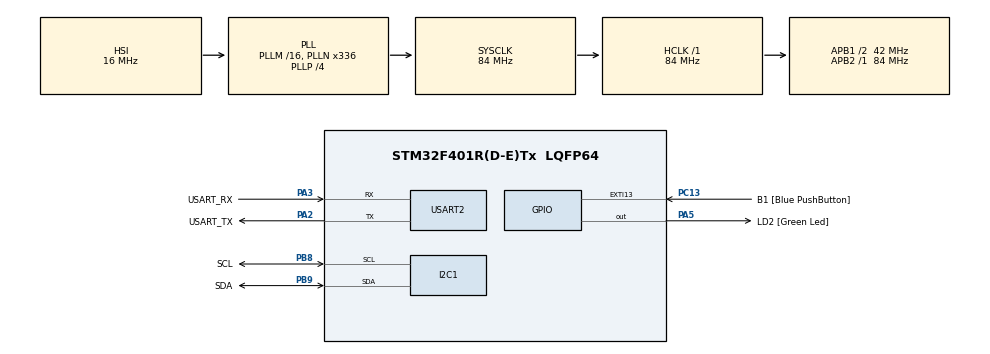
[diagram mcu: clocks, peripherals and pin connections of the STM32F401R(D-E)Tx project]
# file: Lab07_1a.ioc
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Dma.Request0=USART2_TX
Dma.USART2_TX.0.Direction=DMA_MEMORY_TO_PERIPH
Dma.USART2_TX.0.FIFOMode=DMA_FIFOMODE_DISABLE
Dma.USART2_TX.0.Instance=DMA1_Stream6
Dma.USART2_TX.0.MemDataAlignment=DMA_MDATAALIGN_BYTE
Dma.USART2_TX.0.MemInc=DMA_MINC_ENABLE
Dma.USART2_TX.0.Mode=DMA_NORMAL
Dma.USART2_TX.0.PeriphDataAlignment=DMA_PDATAALIGN_BYTE
Dma.USART2_TX.0.PeriphInc=DMA_PINC_DISABLE
Dma.USART2_TX.0.Priority=DMA_PRIORITY_HIGH
Mcu.Family=STM32F4
Mcu.Name=STM32F401R(D-E)Tx
Mcu.Package=LQFP64
NVIC.DMA1_Stream6_IRQn=true\:0\:0\:false\:false\:true\:false\:true\:true
NVIC.PriorityGroup=NVIC_PRIORITYGROUP_4
NVIC.TIM2_IRQn=true\:0\:0\:false\:false\:true\:true\:true\:true
NVIC.USART2_IRQn=true\:0\:0\:false\:false\:true\:true\:true\:true
PA13.GPIO_Label=TMS
PA13.Mode=Trace_Asynchronous_SW
PA13.Signal=SYS_JTMS-SWDIO
PA14.GPIO_Label=TCK
PA14.Mode=Trace_Asynchronous_SW
PA14.Signal=SYS_JTCK-SWCLK
PA2.GPIO_Label=USART_TX
PA2.GPIO_Mode=GPIO_MODE_AF_PP
PA2.GPIO_PuPd=GPIO_NOPULL
PA2.GPIO_Speed=GPIO_SPEED_FREQ_LOW
PA2.Mode=Asynchronous
PA2.Signal=USART2_TX
PA3.GPIO_Label=USART_RX
PA3.GPIO_Mode=GPIO_MODE_AF_PP
PA3.GPIO_PuPd=GPIO_NOPULL
PA3.GPIO_Speed=GPIO_SPEED_FREQ_LOW
PA3.Mode=Asynchronous
PA3.Signal=USART2_RX
PA5.GPIO_Label=LD2 [Green Led]
PA5.GPIO_Mode=GPIO_MODE_OUTPUT_PP
PA5.GPIO_PuPd=GPIO_NOPULL
PA5.GPIO_Speed=GPIO_SPEED_FREQ_LOW
PA5.Signal=GPIO_Output
PB3.GPIO_Label=SWO
PB3.Mode=Trace_Asynchronous_SW
PB3.Signal=SYS_JTDO-SWO
PB8.GPIO_Label=SCL
PB8.Mode=I2C
PB8.Signal=I2C1_SCL
PB9.GPIO_Label=SDA
PB9.Mode=I2C
PB9.Signal=I2C1_SDA
PC13-ANTI_TAMP.GPIO_Label=B1 [Blue PushButton]
PC13-ANTI_TAMP.GPIO_ModeDefaultEXTI=GPIO_MODE_IT_FALLING
PC13-ANTI_TAMP.GPIO_PuPd=GPIO_NOPULL
PC13-ANTI_TAMP.Signal=GPXTI13
PC14-OSC32_IN.Mode=LSE-External-Oscillator
PC14-OSC32_IN.Signal=RCC_OSC32_IN
PC15-OSC32_OUT.Mode=LSE-External-Oscillator
PC15-OSC32_OUT.Signal=RCC_OSC32_OUT
PH0\ -\ OSC_IN.Mode=HSE-External-Clock-Source
PH0\ -\ OSC_IN.Signal=RCC_OSC_IN
PH1\ -\ OSC_OUT.Mode=HSE-External-Clock-Source
PH1\ -\ OSC_OUT.Signal=RCC_OSC_OUT
ProjectManager.HeapSize=0x200
ProjectManager.StackSize=0x400
ProjectManager.TargetToolchain=STM32CubeIDE
RCC.48MHZClocksFreq_Value=48000000
RCC.AHBFreq_Value=84000000
RCC.APB1CLKDivider=RCC_HCLK_DIV2
RCC.APB1Freq_Value=42000000
RCC.APB1TimFreq_Value=84000000
RCC.APB2Freq_Value=84000000
RCC.APB2TimFreq_Value=84000000
RCC.CortexFreq_Value=84000000
RCC.HCLKFreq_Value=84000000
RCC.HSE_VALUE=8000000
RCC.HSI_VALUE=16000000
RCC.PLLN=336
RCC.PLLP=RCC_PLLP_DIV4
RCC.PLLQ=7
RCC.SYSCLKFreq_VALUE=84000000
RCC.SYSCLKSource=RCC_SYSCLKSOURCE_PLLCLK
RCC.VCOOutputFreq_Value=336000000
TIM2.Period=839999
TIM2.Prescaler=99
USART2.VirtualMode=VM_ASYNC
VP_TIM2_VS_ClockSourceINT.Mode=Internal
board=NUCLEO-F401RE

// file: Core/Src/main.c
/* USER CODE BEGIN Header */
/**
  ******************************************************************************
  * @file           : main.c
  * @brief          : Main program body
  ******************************************************************************
  * @attention
  *
  * Copyright (c) 2026 STMicroelectronics.
  * All rights reserved.
  *
  * This software is licensed under terms that can be found in the LICENSE file
  * in the root directory of this software component.
  * If no LICENSE file comes with this software, it is provided AS-IS.
  *
  ******************************************************************************
  */
/* USER CODE END Header */
#include "main.h"

/* USER CODE BEGIN Includes */
#include "stdio.h"
#include "string.h"
/* USER CODE END Includes */

/* USER CODE BEGIN PD */
#define LM75_ADDR 0b10010000
#define LM75_TEMP_REGISTER 0x00
/* USER CODE END PD */

I2C_HandleTypeDef hi2c1;

TIM_HandleTypeDef htim2;

UART_HandleTypeDef huart2;
DMA_HandleTypeDef hdma_usart2_tx;

/* USER CODE BEGIN PV */
uint8_t MSB;
float temp;
int len;
uint8_t tx_buf[64];
/* USER CODE END PV */

void SystemClock_Config(void);
static void MX_GPIO_Init(void);
static void MX_DMA_Init(void);
static void MX_USART2_UART_Init(void);
static void MX_I2C1_Init(void);
static void MX_TIM2_Init(void);

/* USER CODE BEGIN 0 */
void HAL_TIM_PeriodElapsedCallback(TIM_HandleTypeDef *htim)
{
	if(htim->Instance == TIM2){

		HAL_I2C_Mem_Read(&hi2c1, LM75_ADDR, LM75_TEMP_REGISTER, I2C_MEMADD_SIZE_8BIT, &MSB, 1, HAL_MAX_DELAY);

		temp = (float)(int8_t)MSB;   // interpreta il byte grezzo come signed solo qui

		len = sprintf((char*)tx_buf, "Temperature: %.2f °C\r\n", temp);
		HAL_UART_Transmit_DMA(&huart2, tx_buf, len);

	}
}

/* USER CODE END 0 */

int main(void)
{

  /* MCU Configuration--------------------------------------------------------*/

  /* Reset of all peripherals, Initializes the Flash interface and the Systick. */
  HAL_Init();

  /* Configure the system clock */
  SystemClock_Config();

  /* Initialize all configured peripherals */
  MX_GPIO_Init();
  MX_DMA_Init();
  MX_USART2_UART_Init();
  MX_I2C1_Init();
  MX_TIM2_Init();
  /* USER CODE BEGIN 2 */
  HAL_TIM_Base_Start_IT(&htim2);

  /* USER CODE END 2 */

  /* Infinite loop */
  while (1)
  {

  }
}

void SystemClock_Config(void)
{
  RCC_OscInitTypeDef RCC_OscInitStruct = {0};
  RCC_ClkInitTypeDef RCC_ClkInitStruct = {0};

  /** Configure the main internal regulator output voltage
  */
  __HAL_RCC_PWR_CLK_ENABLE();
  __HAL_PWR_VOLTAGESCALING_CONFIG(PWR_REGULATOR_VOLTAGE_SCALE2);

  /** Initializes the RCC Oscillators according to the specified parameters
  * in the RCC_OscInitTypeDef structure.
  */
  RCC_OscInitStruct.OscillatorType = RCC_OSCILLATORTYPE_HSI;
  RCC_OscInitStruct.HSIState = RCC_HSI_ON;
  RCC_OscInitStruct.HSICalibrationValue = RCC_HSICALIBRATION_DEFAULT;
  RCC_OscInitStruct.PLL.PLLState = RCC_PLL_ON;
  RCC_OscInitStruct.PLL.PLLSource = RCC_PLLSOURCE_HSI;
  RCC_OscInitStruct.PLL.PLLM = 16;
  RCC_OscInitStruct.PLL.PLLN = 336;
  RCC_OscInitStruct.PLL.PLLP = RCC_PLLP_DIV4;
  RCC_OscInitStruct.PLL.PLLQ = 7;
  if (HAL_RCC_OscConfig(&RCC_OscInitStruct) != HAL_OK)
  {
    Error_Handler();
  }

  /** Initializes the CPU, AHB and APB buses clocks
  */
  RCC_ClkInitStruct.ClockType = RCC_CLOCKTYPE_HCLK|RCC_CLOCKTYPE_SYSCLK
                              |RCC_CLOCKTYPE_PCLK1|RCC_CLOCKTYPE_PCLK2;
  RCC_ClkInitStruct.SYSCLKSource = RCC_SYSCLKSOURCE_PLLCLK;
  RCC_ClkInitStruct.AHBCLKDivider = RCC_SYSCLK_DIV1;
  RCC_ClkInitStruct.APB1CLKDivider = RCC_HCLK_DIV2;
  RCC_ClkInitStruct.APB2CLKDivider = RCC_HCLK_DIV1;

  if (HAL_RCC_ClockConfig(&RCC_ClkInitStruct, FLASH_LATENCY_2) != HAL_OK)
  {
    Error_Handler();
  }
}

static void MX_I2C1_Init(void)
{

  hi2c1.Instance = I2C1;
  hi2c1.Init.ClockSpeed = 100000;
  hi2c1.Init.DutyCycle = I2C_DUTYCYCLE_2;
  hi2c1.Init.OwnAddress1 = 0;
  hi2c1.Init.AddressingMode = I2C_ADDRESSINGMODE_7BIT;
  hi2c1.Init.DualAddressMode = I2C_DUALADDRESS_DISABLE;
  hi2c1.Init.OwnAddress2 = 0;
  hi2c1.Init.GeneralCallMode = I2C_GENERALCALL_DISABLE;
  hi2c1.Init.NoStretchMode = I2C_NOSTRETCH_DISABLE;
  if (HAL_I2C_Init(&hi2c1) != HAL_OK)
  {
    Error_Handler();
  }

}

static void MX_TIM2_Init(void)
{

  TIM_ClockConfigTypeDef sClockSourceConfig = {0};
  TIM_MasterConfigTypeDef sMasterConfig = {0};

  htim2.Instance = TIM2;
  htim2.Init.Prescaler = 99;
  htim2.Init.CounterMode = TIM_COUNTERMODE_UP;
  htim2.Init.Period = 839999;
  htim2.Init.ClockDivision = TIM_CLOCKDIVISION_DIV1;
  htim2.Init.AutoReloadPreload = TIM_AUTORELOAD_PRELOAD_DISABLE;
  if (HAL_TIM_Base_Init(&htim2) != HAL_OK)
  {
    Error_Handler();
  }
  sClockSourceConfig.ClockSource = TIM_CLOCKSOURCE_INTERNAL;
  if (HAL_TIM_ConfigClockSource(&htim2, &sClockSourceConfig) != HAL_OK)
  {
    Error_Handler();
  }
  sMasterConfig.MasterOutputTrigger = TIM_TRGO_RESET;
  sMasterConfig.MasterSlaveMode = TIM_MASTERSLAVEMODE_DISABLE;
  if (HAL_TIMEx_MasterConfigSynchronization(&htim2, &sMasterConfig) != HAL_OK)
  {
    Error_Handler();
  }

}

static void MX_USART2_UART_Init(void)
{

  huart2.Instance = USART2;
  huart2.Init.BaudRate = 115200;
  huart2.Init.WordLength = UART_WORDLENGTH_8B;
  huart2.Init.StopBits = UART_STOPBITS_1;
  huart2.Init.Parity = UART_PARITY_NONE;
  huart2.Init.Mode = UART_MODE_TX_RX;
  huart2.Init.HwFlowCtl = UART_HWCONTROL_NONE;
  huart2.Init.OverSampling = UART_OVERSAMPLING_16;
  if (HAL_UART_Init(&huart2) != HAL_OK)
  {
    Error_Handler();
  }

}

static void MX_DMA_Init(void)
{

  /* DMA controller clock enable */
  __HAL_RCC_DMA1_CLK_ENABLE();

  /* DMA interrupt init */
  /* DMA1_Stream6_IRQn interrupt configuration */
  HAL_NVIC_SetPriority(DMA1_Stream6_IRQn, 0, 0);
  HAL_NVIC_EnableIRQ(DMA1_Stream6_IRQn);

}

static void MX_GPIO_Init(void)
{
  GPIO_InitTypeDef GPIO_InitStruct = {0};

  /* GPIO Ports Clock Enable */
  __HAL_RCC_GPIOC_CLK_ENABLE();
  __HAL_RCC_GPIOH_CLK_ENABLE();
  __HAL_RCC_GPIOA_CLK_ENABLE();
  __HAL_RCC_GPIOB_CLK_ENABLE();

  /*Configure GPIO pin Output Level */
  HAL_GPIO_WritePin(LD2_GPIO_Port, LD2_Pin, GPIO_PIN_RESET);

  /*Configure GPIO pin : B1_Pin */
  GPIO_InitStruct.Pin = B1_Pin;
  GPIO_InitStruct.Mode = GPIO_MODE_IT_FALLING;
  GPIO_InitStruct.Pull = GPIO_NOPULL;
  HAL_GPIO_Init(B1_GPIO_Port, &GPIO_InitStruct);

  /*Configure GPIO pin : LD2_Pin */
  GPIO_InitStruct.Pin = LD2_Pin;
  GPIO_InitStruct.Mode = GPIO_MODE_OUTPUT_PP;
  GPIO_InitStruct.Pull = GPIO_NOPULL;
  GPIO_InitStruct.Speed = GPIO_SPEED_FREQ_LOW;
  HAL_GPIO_Init(LD2_GPIO_Port, &GPIO_InitStruct);

}

void Error_Handler(void)
{
  __disable_irq();
  while (1)
  {
  }
}
